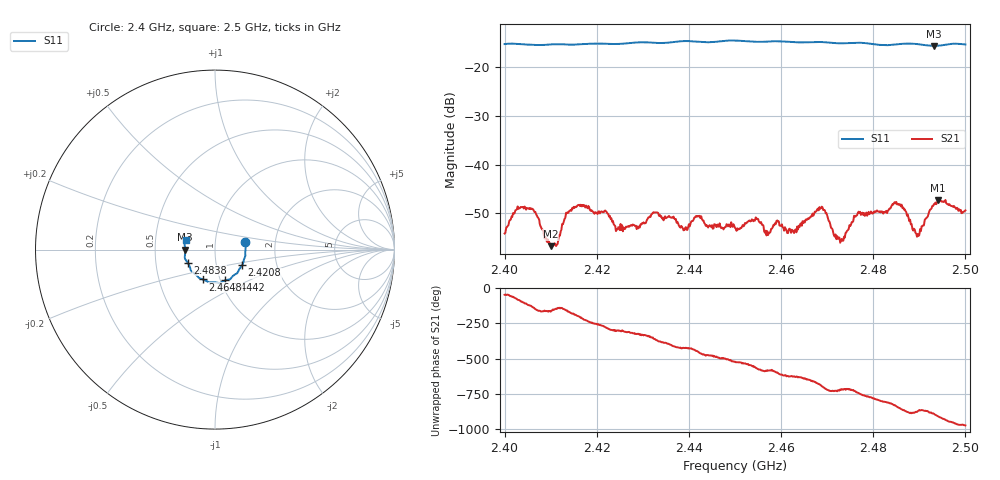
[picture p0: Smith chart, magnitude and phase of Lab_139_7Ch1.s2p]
# Hz S RI R 50
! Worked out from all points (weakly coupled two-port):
!   601 points, 2.4 GHz to 2.5 GHz, reference 50 ohm
!   highest |S21| = -47.29 dB at 2.494 GHz (marker M1); lowest = -56.8 dB at 2.41 GHz (marker M2)
!   lowest |S11| = -15.6 dB at 2.4932 GHz (marker M3), VSWR 1.40, Z = 35.8 - j0.0902 ohm
!   |S11| at or under -10 dB: start of sweep to end of sweep
!   S12 and S22 are empty: the file has one direction only
!   S11 on the Smith chart (normalised r, x): 2.4 GHz: 1.40, +0.12; 2.4208 GHz: 1.33, -0.24; 2.4442 GHz: 1.05, -0.37; 2.4648 GHz: 0.83, -0.28; 2.4838 GHz: 0.73, -0.11; 2.5 GHz: 0.72, +0.08
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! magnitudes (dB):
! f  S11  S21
! 2.4 GHz  -15.2  -54.2
! 2.4028 GHz  -15.2  -48.6
! 2.4057 GHz  -15.4  -49.2
! 2.41 GHz  -15.3  -56.8
! 2.4167 GHz  -15.3  -48.6
! 2.4208 GHz  -15.2  -49.7
! 2.4245 GHz  -15.2  -53.3
! 2.4333 GHz  -15.0  -50.0
! 2.4442 GHz  -14.9  -52.9
! 2.45 GHz  -14.5  -53.0
! 2.4648 GHz  -14.9  -52.1
! 2.4667 GHz  -14.8  -50.6
! 2.469 GHz  -14.8  -48.8
! 2.473 GHz  -15.1  -55.6
! 2.4767 GHz  -15.0  -49.9
! 2.4833 GHz  -15.5  -49.3
! 2.4838 GHz  -15.4  -48.8
! 2.4863 GHz  -15.2  -48.9
! 2.4895 GHz  -15.2  -54.8
! 2.4932 GHz  -15.6  -48.2
! 2.494 GHz  -15.6  -47.3
! 2.5 GHz  -15.3  -49.4
